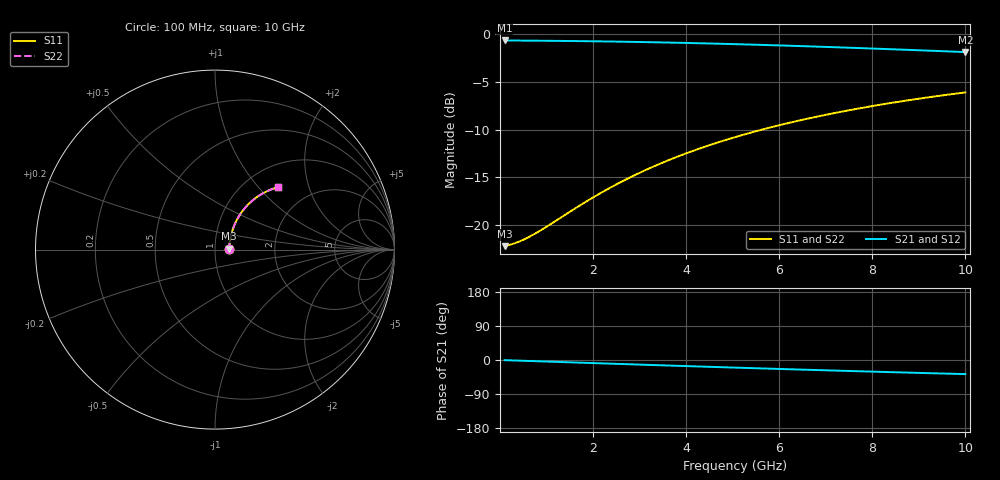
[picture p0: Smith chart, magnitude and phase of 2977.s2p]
# Hz S RI R 50.00
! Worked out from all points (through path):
!   100 points, 100 MHz to 10 GHz, reference 50 ohm
!   highest |S21| = -0.70 dB at 100 MHz (marker M1); lowest = -1.9 dB at 10 GHz (marker M2)
!   group delay of S21, straight-line fit = 10.4 ps
!   lowest |S11| = -22.2 dB at 100 MHz (marker M3), VSWR 1.17, Z = 58.4 + j0.615 ohm
!   |S11| at or under -10 dB: start of sweep to 5.637 GHz
!   |S22| runs from -22.2 to -6.1 dB; largest |S21 - S12| = 0
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1e8  0.0777 0.00524  0.9223 -0.00659  0.9223 -0.00659  0.0777 0.00524
3e8  0.0788 0.0157  0.9212 -0.0197  0.9212 -0.0197  0.0788 0.0157
4e8  0.0794 0.0209  0.9206 -0.0263  0.9206 -0.0263  0.0794 0.0209
5e8  0.0799 0.0261  0.92 -0.0329  0.92 -0.0329  0.0799 0.0261
7e8  0.0812 0.0364  0.9187 -0.0459  0.9187 -0.0459  0.0812 0.0364
1e9  0.0836 0.0518  0.9163 -0.0654  0.9163 -0.0654  0.0836 0.0518
1.8e9  0.0927 0.0922  0.907 -0.1167  0.907 -0.1167  0.0927 0.0922
2.2e9  0.0988 0.1118  0.9008 -0.1417  0.9008 -0.1417  0.0988 0.1118
2.6e9  0.1059 0.1309  0.8934 -0.1663  0.8934 -0.1663  0.1059 0.1309
3e9  0.114 0.1495  0.8851 -0.1903  0.8851 -0.1903  0.114 0.1495
3.4e9  0.123 0.1675  0.8759 -0.2137  0.8759 -0.2137  0.123 0.1675
3.8e9  0.1329 0.1848  0.8657 -0.2365  0.8657 -0.2365  0.1329 0.1848
4.2e9  0.1436 0.2013  0.8546 -0.2586  0.8546 -0.2586  0.1436 0.2013
4.6e9  0.1551 0.2171  0.8428 -0.2799  0.8428 -0.2799  0.1551 0.2171
5.1e9  0.1704 0.2358  0.827 -0.3054  0.827 -0.3054  0.1704 0.2358
5.5e9  0.1834 0.2498  0.8137 -0.3248  0.8137 -0.3248  0.1834 0.2498
5.9e9  0.1968 0.2629  0.7997 -0.3435  0.7997 -0.3435  0.1968 0.2629
6.7e9  0.2252 0.2865  0.7704 -0.3781  0.7704 -0.3781  0.2252 0.2865
7.5e9  0.2549 0.3066  0.7396 -0.4093  0.7396 -0.4093  0.2549 0.3066
8.4e9  0.2893 0.325  0.7037 -0.4403  0.7037 -0.4403  0.2893 0.325
9.2e9  0.3203 0.3378  0.6713 -0.4643  0.6713 -0.4643  0.3203 0.3378
1e10  0.3513 0.3474  0.6387 -0.4852  0.6387 -0.4852  0.3513 0.3474
